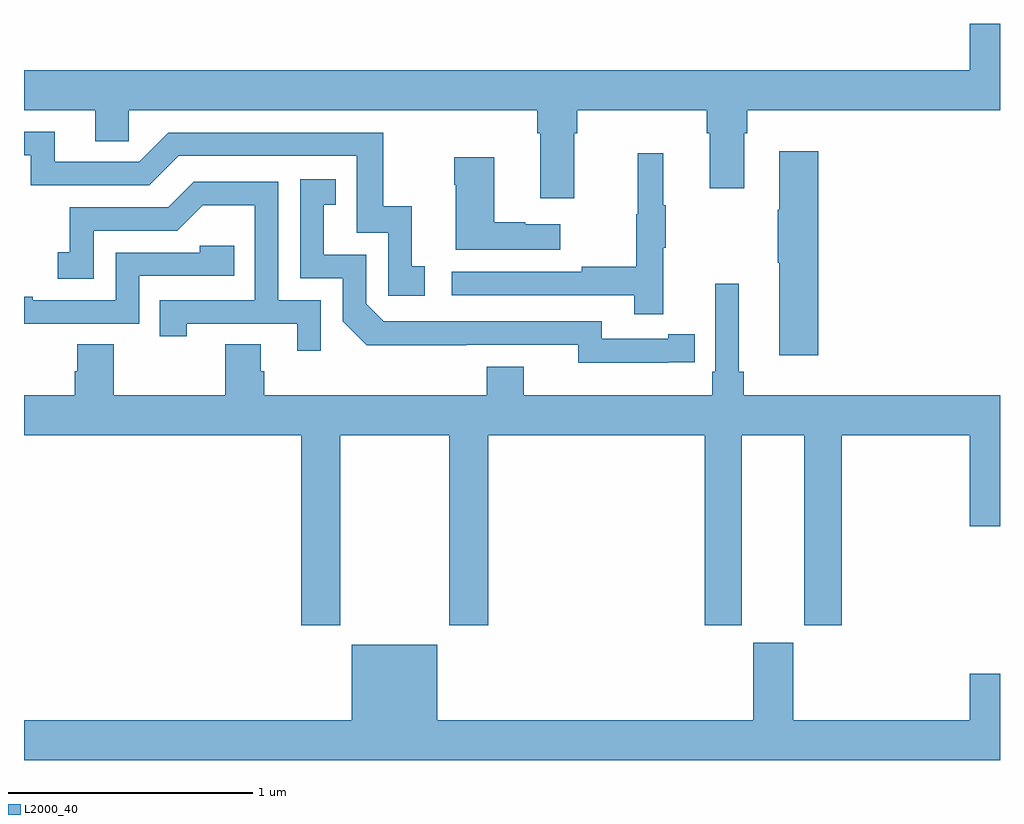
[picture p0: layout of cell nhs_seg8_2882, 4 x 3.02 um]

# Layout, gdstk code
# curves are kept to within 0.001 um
import gdstk
lib = gdstk.Library(unit=1e-6, precision=1e-09)
def P(c, l, *ps):  # polygons
    for p in ps: c.add(gdstk.Polygon(p, *l))
L2000_40 = (2000, 40)

nhs_seg8_2882 = lib.new_cell('nhs_seg8_2882')
P(nhs_seg8_2882, L2000_40, [(295.255,1091.096),(295.268,1091.096),(295.268,1091.192),(295.799,1091.192),(295.799,1091.096),(295.811,1091.096),(295.811,1090.872),(295.951,1090.872),(295.951,1091.096),(295.964,1091.096),(295.964,1091.192),(297,1091.192),(297,1091.545),(296.876,1091.545),(296.876,1091.356),(293,1091.356),(293,1091.192),(293.291,1091.192),(293.291,1091.065),(293.43,1091.065),(293.43,1091.192),(295.103,1091.192),(295.103,1091.096),(295.115,1091.096),(295.115,1090.83),(295.255,1090.83)],
  [(294.643,1090.551),(294.59,1090.551),(294.59,1090.798),(294.472,1090.798),(294.472,1091.1),(293.592,1091.1),(293.472,1090.98),(293.125,1090.98),(293.125,1091.103),(293,1091.103),(293,1091.007),(293.028,1091.007),(293.028,1090.884),(293.514,1090.884),(293.634,1091.004),(294.363,1091.004),(294.363,1090.689),(294.492,1090.689),(294.492,1090.431),(294.643,1090.431)],
  [(296.255,1091.023),(296.096,1091.023),(296.096,1090.784),(296.089,1090.784),(296.089,1090.567),(296.096,1090.567),(296.096,1090.188),(296.255,1090.188)],
  [(295.619,1090.627),(295.63,1090.627),(295.63,1090.801),(295.619,1090.801),(295.619,1091.014),(295.516,1091.014),(295.516,1090.764),(295.509,1090.764),(295.509,1090.55),(295.285,1090.55),(295.285,1090.53),(294.753,1090.53),(294.753,1090.434),(295.501,1090.434),(295.501,1090.356),(295.619,1090.356)],
  [(295.198,1090.723),(295.055,1090.723),(295.055,1090.733),(294.928,1090.733),(294.928,1090.999),(294.763,1090.999),(294.763,1090.886),(294.77,1090.886),(294.77,1090.619),(295.198,1090.619)],
  [(295.64,1090.158),(295.748,1090.158),(295.748,1090.274),(295.64,1090.274),(295.64,1090.254),(295.368,1090.254),(295.368,1090.326),(294.474,1090.326),(294.402,1090.398),(294.402,1090.599),(294.229,1090.599),(294.229,1090.803),(294.278,1090.803),(294.278,1090.909),(294.132,1090.909),(294.132,1090.503),(294.306,1090.503),(294.306,1090.326),(294.404,1090.229),(295.272,1090.23),(295.272,1090.157)],
  [(294.216,1090.413),(294.042,1090.413),(294.042,1090.899),(293.696,1090.899),(293.591,1090.794),(293.188,1090.794),(293.188,1090.609),(293.139,1090.609),(293.139,1090.5),(293.286,1090.5),(293.286,1090.698),(293.628,1090.698),(293.732,1090.802),(293.946,1090.802),(293.946,1090.413),(293.557,1090.413),(293.557,1090.266),(293.668,1090.266),(293.668,1090.317),(294.119,1090.317),(294.119,1090.206),(294.216,1090.206)],
  [(293.472,1090.512),(293.861,1090.512),(293.861,1090.635),(293.721,1090.635),(293.721,1090.608),(293.376,1090.608),(293.376,1090.413),(293.035,1090.413),(293.035,1090.426),(293,1090.426),(293,1090.317),(293.472,1090.317)],
  [(294.297,1089.86),(294.742,1089.86),(294.742,1089.081),(294.902,1089.081),(294.902,1089.86),(295.79,1089.86),(295.79,1089.081),(295.942,1089.081),(295.942,1089.86),(296.198,1089.86),(296.198,1089.081),(296.351,1089.081),(296.351,1089.86),(296.876,1089.86),(296.876,1089.486),(297,1089.486),(297,1090.024),(295.949,1090.024),(295.949,1090.12),(295.93,1090.12),(295.93,1090.48),(295.833,1090.48),(295.833,1090.12),(295.82,1090.12),(295.82,1090.024),(295.048,1090.024),(295.048,1090.141),(294.896,1090.141),(294.896,1090.024),(293.984,1090.024),(293.984,1090.122),(293.971,1090.122),(293.971,1090.232),(293.824,1090.232),(293.824,1090.024),(293.367,1090.024),(293.367,1090.232),(293.219,1090.232),(293.219,1090.122),(293.207,1090.122),(293.207,1090.024),(293,1090.024),(293,1089.86),(294.137,1089.86),(294.137,1089.081),(294.297,1089.081)],
  [(297,1088.881),(296.876,1088.881),(296.876,1088.692),(296.152,1088.692),(296.152,1089.009),(295.988,1089.009),(295.988,1088.692),(294.694,1088.692),(294.694,1089.001),(294.344,1089.001),(294.344,1088.692),(293,1088.692),(293,1088.528),(297,1088.528)])

lib.write_gds('nhs_seg8_2882.gds')
